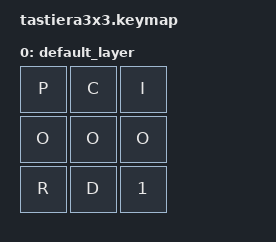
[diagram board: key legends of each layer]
#include <behaviors.dtsi>
#include <dt-bindings/zmk/keys.h>

/ {
    keymap {
        compatible = "zmk,keymap";

        default_layer {
            bindings = <
&kp P  &kp C  &kp I
&kp O  &kp O  &kp O
&kp R  &kp D  &kp N1
            >;
        };
    };
};
